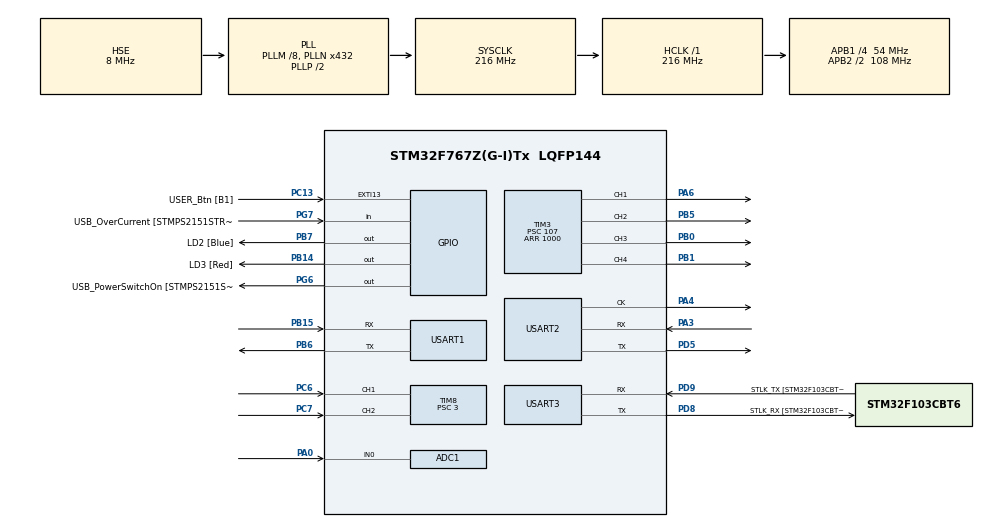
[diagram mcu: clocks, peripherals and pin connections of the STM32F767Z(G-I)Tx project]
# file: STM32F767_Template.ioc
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ADC1.Channel-4\#ChannelRegularConversion=ADC_CHANNEL_0
ADC1.ContinuousConvMode=DISABLE
ADC1.NbrOfConversionFlag=1
ADC1.Rank-4\#ChannelRegularConversion=1
ADC1.SamplingTime-4\#ChannelRegularConversion=ADC_SAMPLETIME_3CYCLES
ADC1.ScanConvMode=DISABLE
ADC1.master=1
Mcu.Family=STM32F7
Mcu.Name=STM32F767Z(G-I)Tx
Mcu.Package=LQFP144
NVIC.ADC_IRQn=true\:1\:1\:true\:false\:true
NVIC.PriorityGroup=NVIC_PRIORITYGROUP_2
NVIC.TIM2_IRQn=true\:1\:0\:true\:false\:true
NVIC.USART1_IRQn=true\:0\:1\:true\:false\:true
NVIC.USART2_IRQn=true\:1\:0\:true\:false\:true
NVIC.USART3_IRQn=true\:1\:0\:true\:false\:true
PA0/WKUP.Signal=ADCx_IN0
PA1.GPIO_Label=RMII_REF_CLK [LAN8742A-CZ-TR_REFCLK0]
PA1.Signal=ETH_REF_CLK
PA10.GPIO_Label=USB_ID
PA10.Signal=USB_OTG_FS_ID
PA11.GPIO_Label=USB_DM
PA11.Signal=USB_OTG_FS_DM
PA12.GPIO_Label=USB_DP
PA12.Signal=USB_OTG_FS_DP
PA13.GPIO_Label=TMS
PA13.Signal=SYS_JTMS-SWDIO
PA14.GPIO_Label=TCK
PA14.Signal=SYS_JTCK-SWCLK
PA2.GPIO_Label=RMII_MDIO [LAN8742A-CZ-TR_MDIO]
PA2.Signal=ETH_MDIO
PA3.Mode=Synchronous
PA3.Signal=USART2_RX
PA4.Mode=Synchronous
PA4.Signal=USART2_CK
PA6.Signal=S_TIM3_CH1
PA7.GPIO_Label=RMII_CRS_DV [LAN8742A-CZ-TR_CRS_DV]
PA7.Signal=ETH_CRS_DV
PA8.GPIO_Label=USB_SOF [TP1]
PA8.Signal=USB_OTG_FS_SOF
PA9.GPIO_Label=USB_VBUS
PA9.Signal=USB_OTG_FS_VBUS
PB0.Signal=S_TIM3_CH3
PB1.GPIO_Speed=GPIO_SPEED_FREQ_HIGH
PB1.Signal=S_TIM3_CH4
PB13.GPIO_Label=RMII_TXD1 [LAN8742A-CZ-TR_TXD1]
PB13.Signal=ETH_TXD1
PB14.GPIO_Label=LD3 [Red]
PB14.Signal=GPIO_Output
PB15.Mode=Asynchronous
PB15.Signal=USART1_RX
PB3.GPIO_Label=SW0
PB3.Signal=SYS_JTDO-SWO
PB5.Signal=S_TIM3_CH2
PB6.Mode=Asynchronous
PB6.Signal=USART1_TX
PB7.GPIO_Label=LD2 [Blue]
PB7.Signal=GPIO_Output
PC1.GPIO_Label=RMII_MDC [LAN8742A-CZ-TR_MDC]
PC1.Signal=ETH_MDC
PC13.GPIO_Label=USER_Btn [B1]
PC13.GPIO_PuPd=GPIO_PULLDOWN
PC13.Signal=GPXTI13
PC14/OSC32_IN.Signal=RCC_OSC32_IN
PC15/OSC32_OUT.Signal=RCC_OSC32_OUT
PC4.GPIO_Label=RMII_RXD0 [LAN8742A-CZ-TR_RXD0]
PC4.Signal=ETH_RXD0
PC5.GPIO_Label=RMII_RXD1 [LAN8742A-CZ-TR_RXD1]
PC5.Signal=ETH_RXD1
PC6.GPIO_PuPd=GPIO_PULLUP
PC6.Signal=S_TIM8_CH1
PC7.GPIO_PuPd=GPIO_PULLUP
PC7.Signal=S_TIM8_CH2
PD5.Mode=Synchronous
PD5.Signal=USART2_TX
PD8.GPIO_Label=STLK_RX [STM32F103CBT6_PA3]
PD8.Mode=Asynchronous
PD8.Signal=USART3_TX
PD9.GPIO_Label=STLK_TX [STM32F103CBT6_PA2]
PD9.Mode=Asynchronous
PD9.Signal=USART3_RX
PG11.GPIO_Label=RMII_TX_EN [LAN8742A-CZ-TR_TXEN]
PG11.Signal=ETH_TX_EN
PG13.GPIO_Label=RMII_TXD0 [LAN8742A-CZ-TR_TXD0]
PG13.Signal=ETH_TXD0
PG6.GPIO_Label=USB_PowerSwitchOn [STMPS2151STR_EN]
PG6.Signal=GPIO_Output
PG7.GPIO_Label=USB_OverCurrent [STMPS2151STR_FAULT]
PG7.Signal=GPIO_Input
PH0/OSC_IN.GPIO_Label=MCO [STM32F103CBT6_PA8]
PH0/OSC_IN.Mode=HSE-External-Oscillator
PH0/OSC_IN.Signal=RCC_OSC_IN
PH1/OSC_OUT.Mode=HSE-External-Oscillator
PH1/OSC_OUT.Signal=RCC_OSC_OUT
ProjectManager.HeapSize=0x200
ProjectManager.StackSize=0x400
ProjectManager.TargetToolchain=MDK-ARM V5
RCC.48MHZClocksFreq_Value=24000000
RCC.AHBFreq_Value=216000000
RCC.APB1CLKDivider=RCC_HCLK_DIV4
RCC.APB1Freq_Value=54000000
RCC.APB1TimFreq_Value=108000000
RCC.APB2CLKDivider=RCC_HCLK_DIV2
RCC.APB2Freq_Value=108000000
RCC.APB2TimFreq_Value=216000000
RCC.CortexFreq_Value=216000000
RCC.HCLKFreq_Value=216000000
RCC.HSE_VALUE=8000000
RCC.HSI_VALUE=16000000
RCC.LSE_VALUE=32768
RCC.PLLM=8
RCC.PLLMUL=RCC_PLL_MUL9
RCC.PLLN=432
RCC.PLLSourceVirtual=RCC_PLLSOURCE_HSE
RCC.PRESCALERUSB=RCC_USBCLKSOURCE_PLL_DIV1_5
RCC.SYSCLKFreq_VALUE=216000000
RCC.SYSCLKSource=RCC_SYSCLKSOURCE_PLLCLK
RCC.SYSCLKSourceVirtual=RCC_SYSCLKSOURCE_PLLCLK
RCC.USART1CLockSelection=RCC_USART1CLKSOURCE_SYSCLK
RCC.USART2CLockSelection=RCC_USART2CLKSOURCE_SYSCLK
RCC.USART3CLockSelection=RCC_USART3CLKSOURCE_SYSCLK
RCC.USBFreq_Value=216000000
RCC.VCOOutputFreq_Value=432000000
SH.ADCx_IN0.0=ADC1_IN0,IN0
SH.S_TIM3_CH1.0=TIM3_CH1,PWM Generation1 CH1
SH.S_TIM3_CH2.0=TIM3_CH2,PWM Generation2 CH2
SH.S_TIM3_CH3.0=TIM3_CH3,PWM Generation3 CH3
SH.S_TIM3_CH4.0=TIM3_CH4,PWM Generation4 CH4
SH.S_TIM8_CH1.0=TIM8_CH1,Encoder_Interface
SH.S_TIM8_CH2.0=TIM8_CH2,Encoder_Interface
TIM2.Period=5
TIM2.Prescaler=216
TIM3.Channel-PWM\ Generation1\ CH1=TIM_CHANNEL_1
TIM3.Channel-PWM\ Generation2\ CH2=TIM_CHANNEL_2
TIM3.Channel-PWM\ Generation3\ CH3=TIM_CHANNEL_3
TIM3.Channel-PWM\ Generation4\ CH4=TIM_CHANNEL_4
TIM3.OCPolarity_4=TIM_OCPOLARITY_HIGH
TIM3.Period=1000
TIM3.Prescaler=107
TIM3.Pulse-PWM\ Generation1\ CH1=500
TIM3.Pulse-PWM\ Generation2\ CH2=500
TIM3.Pulse-PWM\ Generation3\ CH3=500
TIM3.Pulse-PWM\ Generation4\ CH4=500
TIM8.EncoderMode=TIM_ENCODERMODE_TI12
TIM8.Period=65535
TIM8.Prescaler=3
USART1.VirtualMode-Asynchronous=VM_ASYNC
USART1.WordLength=WORDLENGTH_8B
USART2.VirtualMode-Synchronous=VM_SYNC
USART2.WordLength=WORDLENGTH_8B
USART3.VirtualMode-Asynchronous=VM_ASYNC
USART3.WordLength=WORDLENGTH_8B
VP_TIM2_VS_ClockSourceINT.Mode=Internal
board=NUCLEO-F767ZI

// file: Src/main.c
/**
  ******************************************************************************
  * File Name          : main.c
  * Description        : Main program body
  ******************************************************************************
  *
  * COPYRIGHT(c) 2017 STMicroelectronics
  *
  * Redistribution and use in source and binary forms, with or without modification,
  * are permitted provided that the following conditions are met:
  *   1. Redistributions of source code must retain the above copyright notice,
  *      this list of conditions and the following disclaimer.
  *   2. Redistributions in binary form must reproduce the above copyright notice,
  *      this list of conditions and the following disclaimer in the documentation
  *      and/or other materials provided with the distribution.
  *   3. Neither the name of STMicroelectronics nor the names of its contributors
  *      may be used to endorse or promote products derived from this software
  *      without specific prior written permission.
  *
  * THIS SOFTWARE IS PROVIDED BY THE COPYRIGHT HOLDERS AND CONTRIBUTORS "AS IS"
  * AND ANY EXPRESS OR IMPLIED WARRANTIES, INCLUDING, BUT NOT LIMITED TO, THE
  * IMPLIED WARRANTIES OF MERCHANTABILITY AND FITNESS FOR A PARTICULAR PURPOSE ARE
  * DISCLAIMED. IN NO EVENT SHALL THE COPYRIGHT HOLDER OR CONTRIBUTORS BE LIABLE
  * FOR ANY DIRECT, INDIRECT, INCIDENTAL, SPECIAL, EXEMPLARY, OR CONSEQUENTIAL
  * DAMAGES (INCLUDING, BUT NOT LIMITED TO, PROCUREMENT OF SUBSTITUTE GOODS OR
  * SERVICES; LOSS OF USE, DATA, OR PROFITS; OR BUSINESS INTERRUPTION) HOWEVER
  * CAUSED AND ON ANY THEORY OF LIABILITY, WHETHER IN CONTRACT, STRICT LIABILITY,
  * OR TORT (INCLUDING NEGLIGENCE OR OTHERWISE) ARISING IN ANY WAY OUT OF THE USE
  * OF THIS SOFTWARE, EVEN IF ADVISED OF THE POSSIBILITY OF SUCH DAMAGE.
  *
  ******************************************************************************
  */
#include "main.h"
#include "stm32f7xx_hal.h"

/* USER CODE BEGIN Includes */
#include "stm32f7xx_hal_def.h"
#include "motor_control.h"
#define Buffersize 1
/* USER CODE END Includes */

ADC_HandleTypeDef hadc1;

TIM_HandleTypeDef htim2;
TIM_HandleTypeDef htim3;
TIM_HandleTypeDef htim8;

UART_HandleTypeDef huart1;
USART_HandleTypeDef husart2;
UART_HandleTypeDef huart3;

/* USER CODE BEGIN PV */
/* Private variables ---------------------------------------------------------*/
//重定义fputc
int fputc(int ch, FILE *f)
{
 HAL_UART_Transmit(&huart3, (uint8_t *)&ch, 1, 0xffff);
 return ch;
 }
//重定义fgetc
int fgetc(FILE * f)
 {
 uint8_t ch = 0;
 HAL_UART_Receive(&huart3,&ch, 1, 0xffff);
 return ch;
 }

uint8_t Uart1_RxBuffer[Buffersize];
uint8_t Uart3_RxBuffer[Buffersize];  //串口接收缓存
uint8_t rec_flag1 = 0;
uint8_t rec_flag2 = 0;
uint8_t rec_flag3 = 0;
uint8_t rec_buff[] = "hello world!\r\n";
uint32_t pwm_t = 500;
uint16_t adc_value1 = 0;
int32_t encoder_cnt = 0;
uint32_t angle_uart = 0 ;
float angle = 0;
float angle_site = 0;
float angle_pwmout = 0;
float angle_site_pwmout = 0;
char  angel_control_flag = 0;
uint32_t TIME=0;
/* USER CODE END PV */

void SystemClock_Config(void);
void Error_Handler(void);
static void MX_GPIO_Init(void);
static void MX_USART3_UART_Init(void);
static void MX_USART1_UART_Init(void);
static void MX_USART2_Init(void);
static void MX_TIM2_Init(void);
static void MX_TIM3_Init(void);
static void MX_ADC1_Init(void);
static void MX_TIM8_Init(void);

void HAL_TIM_MspPostInit(TIM_HandleTypeDef *htim);

/* USER CODE BEGIN PFP */
/* Private function prototypes -----------------------------------------------*/
uint16_t Get_adc(uint32_t ch);
/* USER CODE END PFP */

int main(void)
{

  /* MCU Configuration----------------------------------------------------------*/

  /* Reset of all peripherals, Initializes the Flash interface and the Systick. */
  HAL_Init();

  /* Configure the system clock */
  SystemClock_Config();

  /* Initialize all configured peripherals */
  MX_GPIO_Init();
  MX_USART3_UART_Init();
  MX_USART1_UART_Init();
  MX_USART2_Init();
  MX_TIM2_Init();
  MX_TIM3_Init();
  MX_ADC1_Init();
  MX_TIM8_Init();

  /* USER CODE BEGIN 2 */
  HAL_TIM_PWM_Start(&htim3,TIM_CHANNEL_1);
  HAL_TIM_PWM_Start(&htim3,TIM_CHANNEL_2);
  HAL_TIM_PWM_Start(&htim3,TIM_CHANNEL_3);
  HAL_TIM_PWM_Start(&htim3,TIM_CHANNEL_4);
  HAL_TIM_PWM_Start(&htim8,TIM_CHANNEL_1);
  HAL_TIM_Base_Start_IT(&htim2);    //使能定时器2
  HAL_TIM_Encoder_Start(&htim8, TIM_CHANNEL_ALL);
  HAL_UART_Receive_IT(&huart1,Uart1_RxBuffer,1);
  HAL_UART_Receive_IT(&huart3,Uart3_RxBuffer,1);
  PID_angle.Proportion = 3;
  PID_angle.Integral = 0;
  PID_angle.Derivative = 0;
  PID_angle.SetPoint = 180;
  PID_angle_site.Proportion = 3;
  PID_angle_site.Integral = 0;
  PID_angle_site.Derivative = 0;
  PID_angle_site.SetPoint = 180;
  /* USER CODE END 2 */

  /* Infinite loop */
  while (1)
  {

  /* USER CODE BEGIN 3 */
	  //HAL_UART_Transmit(&huart3, rec_buff, strlen((char *)rec_buff), 1000);

	  //HAL_Delay(10);
	  //HAL_GPIO_TogglePin(GPIOB, LD3_Pin|LD2_Pin);
	  if(rec_flag3 == 1)
	  {

	  }
	 // adc_value1 = Get_adc(0);

	 // printf("ADC1_0: %d \n\r",adc_value1);
	//  printf("Encoder:%d \n\r",encoder_cnt);

  }
  /* USER CODE END 3 */

}

/** System Clock Configuration
*/
void SystemClock_Config(void)
{

  RCC_OscInitTypeDef RCC_OscInitStruct;
  RCC_ClkInitTypeDef RCC_ClkInitStruct;
  RCC_PeriphCLKInitTypeDef PeriphClkInitStruct;

    /**Configure the main internal regulator output voltage
    */
  __HAL_RCC_PWR_CLK_ENABLE();

  __HAL_PWR_VOLTAGESCALING_CONFIG(PWR_REGULATOR_VOLTAGE_SCALE1);

    /**Initializes the CPU, AHB and APB busses clocks
    */
  RCC_OscInitStruct.OscillatorType = RCC_OSCILLATORTYPE_HSE;
  RCC_OscInitStruct.HSEState = RCC_HSE_ON;
  RCC_OscInitStruct.PLL.PLLState = RCC_PLL_ON;
  RCC_OscInitStruct.PLL.PLLSource = RCC_PLLSOURCE_HSE;
  RCC_OscInitStruct.PLL.PLLM = 8;
  RCC_OscInitStruct.PLL.PLLN = 432;
  RCC_OscInitStruct.PLL.PLLP = RCC_PLLP_DIV2;
  RCC_OscInitStruct.PLL.PLLQ = 2;
  if (HAL_RCC_OscConfig(&RCC_OscInitStruct) != HAL_OK)
  {
    Error_Handler();
  }

    /**Activate the Over-Drive mode
    */
  if (HAL_PWREx_EnableOverDrive() != HAL_OK)
  {
    Error_Handler();
  }

    /**Initializes the CPU, AHB and APB busses clocks
    */
  RCC_ClkInitStruct.ClockType = RCC_CLOCKTYPE_HCLK|RCC_CLOCKTYPE_SYSCLK
                              |RCC_CLOCKTYPE_PCLK1|RCC_CLOCKTYPE_PCLK2;
  RCC_ClkInitStruct.SYSCLKSource = RCC_SYSCLKSOURCE_PLLCLK;
  RCC_ClkInitStruct.AHBCLKDivider = RCC_SYSCLK_DIV1;
  RCC_ClkInitStruct.APB1CLKDivider = RCC_HCLK_DIV4;
  RCC_ClkInitStruct.APB2CLKDivider = RCC_HCLK_DIV2;

  if (HAL_RCC_ClockConfig(&RCC_ClkInitStruct, FLASH_LATENCY_7) != HAL_OK)
  {
    Error_Handler();
  }

  PeriphClkInitStruct.PeriphClockSelection = RCC_PERIPHCLK_USART1|RCC_PERIPHCLK_USART2
                              |RCC_PERIPHCLK_USART3;
  PeriphClkInitStruct.Usart1ClockSelection = RCC_USART1CLKSOURCE_SYSCLK;
  PeriphClkInitStruct.Usart2ClockSelection = RCC_USART2CLKSOURCE_SYSCLK;
  PeriphClkInitStruct.Usart3ClockSelection = RCC_USART3CLKSOURCE_SYSCLK;
  if (HAL_RCCEx_PeriphCLKConfig(&PeriphClkInitStruct) != HAL_OK)
  {
    Error_Handler();
  }

    /**Configure the Systick interrupt time
    */
  HAL_SYSTICK_Config(HAL_RCC_GetHCLKFreq()/1000);

    /**Configure the Systick
    */
  HAL_SYSTICK_CLKSourceConfig(SYSTICK_CLKSOURCE_HCLK);

  /* SysTick_IRQn interrupt configuration */
  HAL_NVIC_SetPriority(SysTick_IRQn, 0, 0);
}

/* ADC1 init function */
static void MX_ADC1_Init(void)
{

  ADC_ChannelConfTypeDef sConfig;

    /**Configure the global features of the ADC (Clock, Resolution, Data Alignment and number of conversion)
    */
  hadc1.Instance = ADC1;
  hadc1.Init.ClockPrescaler = ADC_CLOCK_SYNC_PCLK_DIV4;
  hadc1.Init.Resolution = ADC_RESOLUTION_12B;
  hadc1.Init.ScanConvMode = DISABLE;
  hadc1.Init.ContinuousConvMode = DISABLE;
  hadc1.Init.DiscontinuousConvMode = DISABLE;
  hadc1.Init.ExternalTrigConvEdge = ADC_EXTERNALTRIGCONVEDGE_NONE;
  hadc1.Init.ExternalTrigConv = ADC_SOFTWARE_START;
  hadc1.Init.DataAlign = ADC_DATAALIGN_RIGHT;
  hadc1.Init.NbrOfConversion = 1;
  hadc1.Init.DMAContinuousRequests = DISABLE;
  hadc1.Init.EOCSelection = ADC_EOC_SINGLE_CONV;
  if (HAL_ADC_Init(&hadc1) != HAL_OK)
  {
    Error_Handler();
  }

    /**Configure for the selected ADC regular channel its corresponding rank in the sequencer and its sample time.
    */
  sConfig.Channel = ADC_CHANNEL_0;
  sConfig.Rank = 1;
  sConfig.SamplingTime = ADC_SAMPLETIME_3CYCLES;
  if (HAL_ADC_ConfigChannel(&hadc1, &sConfig) != HAL_OK)
  {
    Error_Handler();
  }

}

/* TIM2 init function */
static void MX_TIM2_Init(void)
{

  TIM_ClockConfigTypeDef sClockSourceConfig;
  TIM_MasterConfigTypeDef sMasterConfig;

  htim2.Instance = TIM2;
  htim2.Init.Prescaler = 216;
  htim2.Init.CounterMode = TIM_COUNTERMODE_UP;
  htim2.Init.Period = 5;
  htim2.Init.ClockDivision = TIM_CLOCKDIVISION_DIV1;
  htim2.Init.AutoReloadPreload = TIM_AUTORELOAD_PRELOAD_DISABLE;
  if (HAL_TIM_Base_Init(&htim2) != HAL_OK)
  {
    Error_Handler();
  }

  sClockSourceConfig.ClockSource = TIM_CLOCKSOURCE_INTERNAL;
  if (HAL_TIM_ConfigClockSource(&htim2, &sClockSourceConfig) != HAL_OK)
  {
    Error_Handler();
  }

  sMasterConfig.MasterOutputTrigger = TIM_TRGO_RESET;
  sMasterConfig.MasterSlaveMode = TIM_MASTERSLAVEMODE_DISABLE;
  if (HAL_TIMEx_MasterConfigSynchronization(&htim2, &sMasterConfig) != HAL_OK)
  {
    Error_Handler();
  }

}

/* TIM3 init function */
static void MX_TIM3_Init(void)
{

  TIM_MasterConfigTypeDef sMasterConfig;
  TIM_OC_InitTypeDef sConfigOC;

  htim3.Instance = TIM3;
  htim3.Init.Prescaler = 107;
  htim3.Init.CounterMode = TIM_COUNTERMODE_UP;
  htim3.Init.Period = 1000;
  htim3.Init.ClockDivision = TIM_CLOCKDIVISION_DIV1;
  htim3.Init.AutoReloadPreload = TIM_AUTORELOAD_PRELOAD_DISABLE;
  if (HAL_TIM_PWM_Init(&htim3) != HAL_OK)
  {
    Error_Handler();
  }

  sMasterConfig.MasterOutputTrigger = TIM_TRGO_RESET;
  sMasterConfig.MasterSlaveMode = TIM_MASTERSLAVEMODE_DISABLE;
  if (HAL_TIMEx_MasterConfigSynchronization(&htim3, &sMasterConfig) != HAL_OK)
  {
    Error_Handler();
  }

  sConfigOC.OCMode = TIM_OCMODE_PWM1;
  sConfigOC.Pulse = 500;
  sConfigOC.OCPolarity = TIM_OCPOLARITY_HIGH;
  sConfigOC.OCFastMode = TIM_OCFAST_DISABLE;
  if (HAL_TIM_PWM_ConfigChannel(&htim3, &sConfigOC, TIM_CHANNEL_1) != HAL_OK)
  {
    Error_Handler();
  }

  if (HAL_TIM_PWM_ConfigChannel(&htim3, &sConfigOC, TIM_CHANNEL_2) != HAL_OK)
  {
    Error_Handler();
  }

  if (HAL_TIM_PWM_ConfigChannel(&htim3, &sConfigOC, TIM_CHANNEL_3) != HAL_OK)
  {
    Error_Handler();
  }

  if (HAL_TIM_PWM_ConfigChannel(&htim3, &sConfigOC, TIM_CHANNEL_4) != HAL_OK)
  {
    Error_Handler();
  }

  HAL_TIM_MspPostInit(&htim3);

}

/* TIM8 init function */
static void MX_TIM8_Init(void)
{

  TIM_Encoder_InitTypeDef sConfig;
  TIM_MasterConfigTypeDef sMasterConfig;

  htim8.Instance = TIM8;
  htim8.Init.Prescaler = 3;
  htim8.Init.CounterMode = TIM_COUNTERMODE_UP;
  htim8.Init.Period = 65535;
  htim8.Init.ClockDivision = TIM_CLOCKDIVISION_DIV1;
  htim8.Init.RepetitionCounter = 0;
  htim8.Init.AutoReloadPreload = TIM_AUTORELOAD_PRELOAD_DISABLE;
  sConfig.EncoderMode = TIM_ENCODERMODE_TI12;
  sConfig.IC1Polarity = TIM_ICPOLARITY_RISING;
  sConfig.IC1Selection = TIM_ICSELECTION_DIRECTTI;
  sConfig.IC1Prescaler = TIM_ICPSC_DIV1;
  sConfig.IC1Filter = 0;
  sConfig.IC2Polarity = TIM_ICPOLARITY_RISING;
  sConfig.IC2Selection = TIM_ICSELECTION_DIRECTTI;
  sConfig.IC2Prescaler = TIM_ICPSC_DIV1;
  sConfig.IC2Filter = 0;
  if (HAL_TIM_Encoder_Init(&htim8, &sConfig) != HAL_OK)
  {
    Error_Handler();
  }

  sMasterConfig.MasterOutputTrigger = TIM_TRGO_RESET;
  sMasterConfig.MasterOutputTrigger2 = TIM_TRGO2_RESET;
  sMasterConfig.MasterSlaveMode = TIM_MASTERSLAVEMODE_DISABLE;
  if (HAL_TIMEx_MasterConfigSynchronization(&htim8, &sMasterConfig) != HAL_OK)
  {
    Error_Handler();
  }

}

/* USART1 init function */
static void MX_USART1_UART_Init(void)
{

  huart1.Instance = USART1;
  huart1.Init.BaudRate = 115200;
  huart1.Init.WordLength = UART_WORDLENGTH_8B;
  huart1.Init.StopBits = UART_STOPBITS_1;
  huart1.Init.Parity = UART_PARITY_NONE;
  huart1.Init.Mode = UART_MODE_TX_RX;
  huart1.Init.HwFlowCtl = UART_HWCONTROL_NONE;
  huart1.Init.OverSampling = UART_OVERSAMPLING_16;
  huart1.Init.OneBitSampling = UART_ONE_BIT_SAMPLE_DISABLE;
  huart1.AdvancedInit.AdvFeatureInit = UART_ADVFEATURE_NO_INIT;
  if (HAL_UART_Init(&huart1) != HAL_OK)
  {
    Error_Handler();
  }

}

/* USART2 init function */
static void MX_USART2_Init(void)
{

  husart2.Instance = USART2;
  husart2.Init.BaudRate = 115200;
  husart2.Init.WordLength = USART_WORDLENGTH_8B;
  husart2.Init.StopBits = USART_STOPBITS_1;
  husart2.Init.Parity = USART_PARITY_NONE;
  husart2.Init.Mode = USART_MODE_TX_RX;
  husart2.Init.CLKPolarity = USART_POLARITY_LOW;
  husart2.Init.CLKPhase = USART_PHASE_1EDGE;
  husart2.Init.CLKLastBit = USART_LASTBIT_DISABLE;
  if (HAL_USART_Init(&husart2) != HAL_OK)
  {
    Error_Handler();
  }

}

/* USART3 init function */
static void MX_USART3_UART_Init(void)
{

  huart3.Instance = USART3;
  huart3.Init.BaudRate = 115200;
  huart3.Init.WordLength = UART_WORDLENGTH_8B;
  huart3.Init.StopBits = UART_STOPBITS_1;
  huart3.Init.Parity = UART_PARITY_NONE;
  huart3.Init.Mode = UART_MODE_TX_RX;
  huart3.Init.HwFlowCtl = UART_HWCONTROL_NONE;
  huart3.Init.OverSampling = UART_OVERSAMPLING_16;
  huart3.Init.OneBitSampling = UART_ONE_BIT_SAMPLE_DISABLE;
  huart3.AdvancedInit.AdvFeatureInit = UART_ADVFEATURE_NO_INIT;
  if (HAL_UART_Init(&huart3) != HAL_OK)
  {
    Error_Handler();
  }

}

/** Configure pins as
        * Analog
        * Input
        * Output
        * EVENT_OUT
        * EXTI
     PC1   ------> ETH_MDC
     PA1   ------> ETH_REF_CLK
     PA2   ------> ETH_MDIO
     PA7   ------> ETH_CRS_DV
     PC4   ------> ETH_RXD0
     PC5   ------> ETH_RXD1
     PB13   ------> ETH_TXD1
     PA8   ------> USB_OTG_FS_SOF
     PA9   ------> USB_OTG_FS_VBUS
     PA10   ------> USB_OTG_FS_ID
     PA11   ------> USB_OTG_FS_DM
     PA12   ------> USB_OTG_FS_DP
     PG11   ------> ETH_TX_EN
     PG13   ------> ETH_TXD0
*/
static void MX_GPIO_Init(void)
{

  GPIO_InitTypeDef GPIO_InitStruct;

  /* GPIO Ports Clock Enable */
  __HAL_RCC_GPIOC_CLK_ENABLE();
  __HAL_RCC_GPIOH_CLK_ENABLE();
  __HAL_RCC_GPIOA_CLK_ENABLE();
  __HAL_RCC_GPIOB_CLK_ENABLE();
  __HAL_RCC_GPIOD_CLK_ENABLE();
  __HAL_RCC_GPIOG_CLK_ENABLE();

  /*Configure GPIO pin Output Level */
  HAL_GPIO_WritePin(GPIOB, LD3_Pin|LD2_Pin, GPIO_PIN_RESET);

  /*Configure GPIO pin Output Level */
  HAL_GPIO_WritePin(USB_PowerSwitchOn_GPIO_Port, USB_PowerSwitchOn_Pin, GPIO_PIN_RESET);

  /*Configure GPIO pin : USER_Btn_Pin */
  GPIO_InitStruct.Pin = USER_Btn_Pin;
  GPIO_InitStruct.Mode = GPIO_MODE_IT_RISING;
  GPIO_InitStruct.Pull = GPIO_PULLDOWN;
  HAL_GPIO_Init(USER_Btn_GPIO_Port, &GPIO_InitStruct);

  /*Configure GPIO pins : RMII_MDC_Pin RMII_RXD0_Pin RMII_RXD1_Pin */
  GPIO_InitStruct.Pin = RMII_MDC_Pin|RMII_RXD0_Pin|RMII_RXD1_Pin;
  GPIO_InitStruct.Mode = GPIO_MODE_AF_PP;
  GPIO_InitStruct.Pull = GPIO_NOPULL;
  GPIO_InitStruct.Speed = GPIO_SPEED_FREQ_VERY_HIGH;
  GPIO_InitStruct.Alternate = GPIO_AF11_ETH;
  HAL_GPIO_Init(GPIOC, &GPIO_InitStruct);

  /*Configure GPIO pins : RMII_REF_CLK_Pin RMII_MDIO_Pin RMII_CRS_DV_Pin */
  GPIO_InitStruct.Pin = RMII_REF_CLK_Pin|RMII_MDIO_Pin|RMII_CRS_DV_Pin;
  GPIO_InitStruct.Mode = GPIO_MODE_AF_PP;
  GPIO_InitStruct.Pull = GPIO_NOPULL;
  GPIO_InitStruct.Speed = GPIO_SPEED_FREQ_VERY_HIGH;
  GPIO_InitStruct.Alternate = GPIO_AF11_ETH;
  HAL_GPIO_Init(GPIOA, &GPIO_InitStruct);

  /*Configure GPIO pin : RMII_TXD1_Pin */
  GPIO_InitStruct.Pin = RMII_TXD1_Pin;
  GPIO_InitStruct.Mode = GPIO_MODE_AF_PP;
  GPIO_InitStruct.Pull = GPIO_NOPULL;
  GPIO_InitStruct.Speed = GPIO_SPEED_FREQ_VERY_HIGH;
  GPIO_InitStruct.Alternate = GPIO_AF11_ETH;
  HAL_GPIO_Init(RMII_TXD1_GPIO_Port, &GPIO_InitStruct);

  /*Configure GPIO pins : LD3_Pin LD2_Pin */
  GPIO_InitStruct.Pin = LD3_Pin|LD2_Pin;
  GPIO_InitStruct.Mode = GPIO_MODE_OUTPUT_PP;
  GPIO_InitStruct.Pull = GPIO_NOPULL;
  GPIO_InitStruct.Speed = GPIO_SPEED_FREQ_LOW;
  HAL_GPIO_Init(GPIOB, &GPIO_InitStruct);

  /*Configure GPIO pin : USB_PowerSwitchOn_Pin */
  GPIO_InitStruct.Pin = USB_PowerSwitchOn_Pin;
  GPIO_InitStruct.Mode = GPIO_MODE_OUTPUT_PP;
  GPIO_InitStruct.Pull = GPIO_NOPULL;
  GPIO_InitStruct.Speed = GPIO_SPEED_FREQ_LOW;
  HAL_GPIO_Init(USB_PowerSwitchOn_GPIO_Port, &GPIO_InitStruct);

  /*Configure GPIO pin : USB_OverCurrent_Pin */
  GPIO_InitStruct.Pin = USB_OverCurrent_Pin;
  GPIO_InitStruct.Mode = GPIO_MODE_INPUT;
  GPIO_InitStruct.Pull = GPIO_NOPULL;
  HAL_GPIO_Init(USB_OverCurrent_GPIO_Port, &GPIO_InitStruct);

  /*Configure GPIO pins : USB_SOF_Pin USB_ID_Pin USB_DM_Pin USB_DP_Pin */
  GPIO_InitStruct.Pin = USB_SOF_Pin|USB_ID_Pin|USB_DM_Pin|USB_DP_Pin;
  GPIO_InitStruct.Mode = GPIO_MODE_AF_PP;
  GPIO_InitStruct.Pull = GPIO_NOPULL;
  GPIO_InitStruct.Speed = GPIO_SPEED_FREQ_VERY_HIGH;
  GPIO_InitStruct.Alternate = GPIO_AF10_OTG_FS;
  HAL_GPIO_Init(GPIOA, &GPIO_InitStruct);

  /*Configure GPIO pin : USB_VBUS_Pin */
  GPIO_InitStruct.Pin = USB_VBUS_Pin;
  GPIO_InitStruct.Mode = GPIO_MODE_INPUT;
  GPIO_InitStruct.Pull = GPIO_NOPULL;
  HAL_GPIO_Init(USB_VBUS_GPIO_Port, &GPIO_InitStruct);

  /*Configure GPIO pins : RMII_TX_EN_Pin RMII_TXD0_Pin */
  GPIO_InitStruct.Pin = RMII_TX_EN_Pin|RMII_TXD0_Pin;
  GPIO_InitStruct.Mode = GPIO_MODE_AF_PP;
  GPIO_InitStruct.Pull = GPIO_NOPULL;
  GPIO_InitStruct.Speed = GPIO_SPEED_FREQ_VERY_HIGH;
  GPIO_InitStruct.Alternate = GPIO_AF11_ETH;
  HAL_GPIO_Init(GPIOG, &GPIO_InitStruct);

}

/* USER CODE BEGIN 4 */

/*
获取ADC1
参数 通道
*/
uint16_t Get_adc(uint32_t ch)
{
	ADC_ChannelConfTypeDef ADC1_ChanConf;
	ADC1_ChanConf.Channel = ch;    //set channel
	ADC1_ChanConf.Rank 	  = 1;
	ADC1_ChanConf.SamplingTime = ADC_SAMPLETIME_480CYCLES;
	ADC1_ChanConf.Offset = 0;
	HAL_ADC_ConfigChannel(&hadc1,&ADC1_ChanConf);
	HAL_ADC_Start(&hadc1);
	HAL_ADC_PollForConversion(&hadc1,10);
	return (uint16_t)HAL_ADC_GetValue(&hadc1);
}
/*
串口回调函数  可以被重定义  不可以被更改！
用户重定义串口回调函数
*/
void HAL_UART_RxCpltCallback(UART_HandleTypeDef *huart)
{
	if(huart == &huart1)
	{
		if(rec_flag2 == 0)
		{
				if(rec_flag1 == 0)
				{
					if(Uart1_RxBuffer[0]==0x80)
					{
						rec_flag1 = 1;
					}
				}
				else if(rec_flag1 == 1)
					{
						angle_uart = Uart1_RxBuffer[0]*256;
						rec_flag2 = 1;

					}
		}
		else
		{
			angle_uart += Uart1_RxBuffer[0];
			rec_flag1 = 0;
			rec_flag2 = 0;
			rec_flag3 = 1;
		}

		//HAL_UART_Transmit(&huart1,Uart1_RxBuffer,strlen((char *)Uart1_RxBuffer),1000);
		HAL_UART_Receive_IT(&huart1,Uart1_RxBuffer,1);
	}
		if(huart == &huart3)
	{

		HAL_UART_Transmit(&huart3,Uart3_RxBuffer,strlen((char *)Uart3_RxBuffer),1000);
		HAL_UART_Receive_IT(&huart3,Uart3_RxBuffer,1);
	}
}
/*
重定义定时器回调函数
*/
void HAL_TIM_PeriodElapsedCallback(TIM_HandleTypeDef *htim)
{
  if(htim == &htim2)
	{
				//{TIME++; if(TIME>=32000) TIME=0;}			//时间信息

					encoder_cnt = (int16_t)(__HAL_TIM_GET_COUNTER(&htim8));//获取电机位置
					if(encoder_cnt>=32767)
					{encoder_cnt = -(65535-encoder_cnt);}
					angle_site = (float)(encoder_cnt)/390.0*360.0;
					if(rec_flag3 ==1 )
					{angle = (float)(angle_uart)/690.0*360.0;

						rec_flag3 = 0;		}//获取摆位置

				//angle = 200;
				//angle_site =200;

				if(1)//(angel_control_flag==1)
				{
					if(angle>130&&angle<230)
					{

							angle_pwmout = InvertCotrol(&PID_angle,angle);
							//angle_site_pwmout = MotorControl(&PID_angle_site,angle_site);
						angle_site_pwmout = 0;
							SetPWM((int32_t)(angle_pwmout+angle_site_pwmout));
							printf("%d  %f  %d  %f %f  %f\n",angle_uart,angle,encoder_cnt,angle_site,angle_pwmout,angle_site_pwmout);
					}
				}
				else
					{
							SetPWM(0);
							angle_pwmout = 0;
							angle_site_pwmout = 0;

					}

	//	printf("hello\n");
	}
}
/* USER CODE END 4 */

void Error_Handler(void)
{
  while(1)
  {
  }
}

/************************ (C) COPYRIGHT STMicroelectronics *****END OF FILE****/
